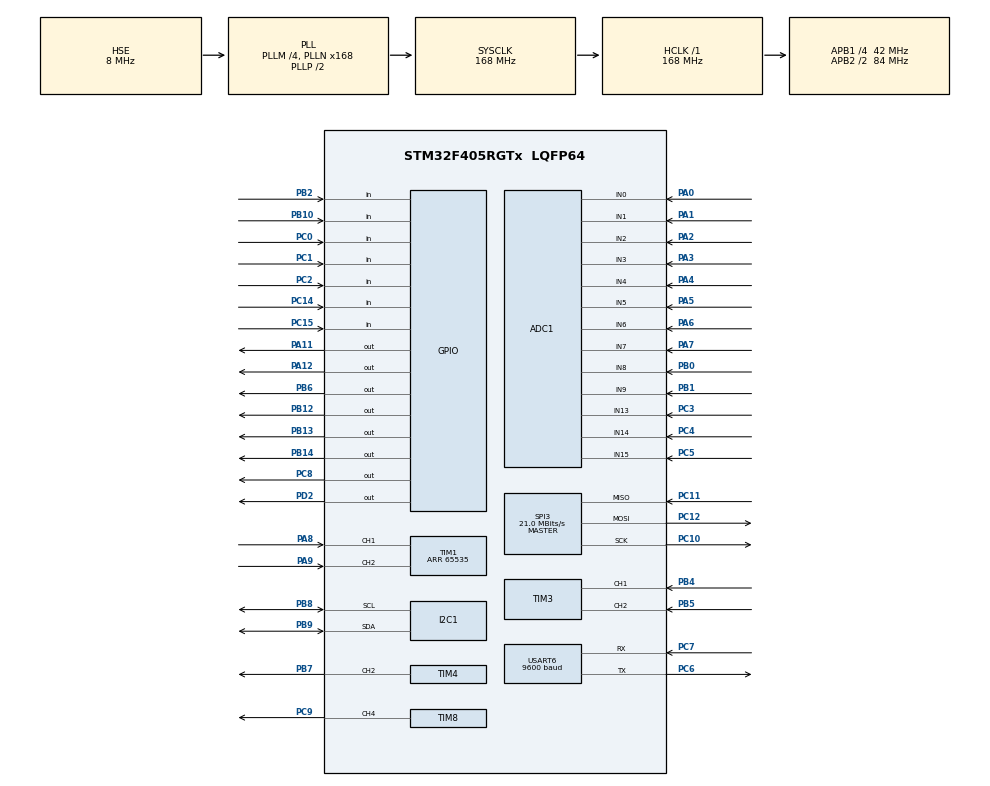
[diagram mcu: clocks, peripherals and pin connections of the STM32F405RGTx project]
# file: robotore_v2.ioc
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ADC1.Channel-0\#ChannelRegularConversion=ADC_CHANNEL_9
ADC1.Channel-1\#ChannelRegularConversion=ADC_CHANNEL_8
ADC1.Channel-10\#ChannelRegularConversion=ADC_CHANNEL_1
ADC1.Channel-11\#ChannelRegularConversion=ADC_CHANNEL_0
ADC1.Channel-12\#ChannelRegularConversion=ADC_CHANNEL_13
ADC1.Channel-2\#ChannelRegularConversion=ADC_CHANNEL_15
ADC1.Channel-3\#ChannelRegularConversion=ADC_CHANNEL_14
ADC1.Channel-4\#ChannelRegularConversion=ADC_CHANNEL_7
ADC1.Channel-5\#ChannelRegularConversion=ADC_CHANNEL_6
ADC1.Channel-6\#ChannelRegularConversion=ADC_CHANNEL_5
ADC1.Channel-7\#ChannelRegularConversion=ADC_CHANNEL_4
ADC1.Channel-8\#ChannelRegularConversion=ADC_CHANNEL_3
ADC1.Channel-9\#ChannelRegularConversion=ADC_CHANNEL_2
ADC1.ContinuousConvMode=ENABLE
ADC1.DMAContinuousRequests=ENABLE
ADC1.InjNumberOfConversion=0
ADC1.NbrOfConversion=13
ADC1.NbrOfConversionFlag=1
ADC1.Rank-0\#ChannelRegularConversion=1
ADC1.Rank-1\#ChannelRegularConversion=2
ADC1.Rank-10\#ChannelRegularConversion=11
ADC1.Rank-11\#ChannelRegularConversion=12
ADC1.Rank-12\#ChannelRegularConversion=13
ADC1.Rank-2\#ChannelRegularConversion=3
ADC1.Rank-3\#ChannelRegularConversion=4
ADC1.Rank-4\#ChannelRegularConversion=5
ADC1.Rank-5\#ChannelRegularConversion=6
ADC1.Rank-6\#ChannelRegularConversion=7
ADC1.Rank-7\#ChannelRegularConversion=8
ADC1.Rank-8\#ChannelRegularConversion=9
ADC1.Rank-9\#ChannelRegularConversion=10
ADC1.SamplingTime-0\#ChannelRegularConversion=ADC_SAMPLETIME_480CYCLES
ADC1.SamplingTime-1\#ChannelRegularConversion=ADC_SAMPLETIME_480CYCLES
ADC1.SamplingTime-10\#ChannelRegularConversion=ADC_SAMPLETIME_480CYCLES
ADC1.SamplingTime-11\#ChannelRegularConversion=ADC_SAMPLETIME_480CYCLES
ADC1.SamplingTime-12\#ChannelRegularConversion=ADC_SAMPLETIME_480CYCLES
ADC1.SamplingTime-2\#ChannelRegularConversion=ADC_SAMPLETIME_480CYCLES
ADC1.SamplingTime-3\#ChannelRegularConversion=ADC_SAMPLETIME_480CYCLES
ADC1.SamplingTime-4\#ChannelRegularConversion=ADC_SAMPLETIME_480CYCLES
ADC1.SamplingTime-5\#ChannelRegularConversion=ADC_SAMPLETIME_480CYCLES
ADC1.SamplingTime-6\#ChannelRegularConversion=ADC_SAMPLETIME_480CYCLES
ADC1.SamplingTime-7\#ChannelRegularConversion=ADC_SAMPLETIME_480CYCLES
ADC1.SamplingTime-8\#ChannelRegularConversion=ADC_SAMPLETIME_480CYCLES
ADC1.SamplingTime-9\#ChannelRegularConversion=ADC_SAMPLETIME_480CYCLES
ADC1.ScanConvMode=ENABLE
ADC1.master=1
Dma.ADC1.0.Direction=DMA_PERIPH_TO_MEMORY
Dma.ADC1.0.FIFOMode=DMA_FIFOMODE_DISABLE
Dma.ADC1.0.Instance=DMA2_Stream0
Dma.ADC1.0.MemDataAlignment=DMA_MDATAALIGN_HALFWORD
Dma.ADC1.0.MemInc=DMA_MINC_ENABLE
Dma.ADC1.0.Mode=DMA_CIRCULAR
Dma.ADC1.0.PeriphDataAlignment=DMA_PDATAALIGN_HALFWORD
Dma.ADC1.0.PeriphInc=DMA_PINC_DISABLE
Dma.ADC1.0.Priority=DMA_PRIORITY_LOW
Dma.Request0=ADC1
Mcu.Family=STM32F4
Mcu.Name=STM32F405RGTx
Mcu.Package=LQFP64
NVIC.DMA2_Stream0_IRQn=true\:0\:0\:false\:false\:true\:false\:true
NVIC.PriorityGroup=NVIC_PRIORITYGROUP_4
NVIC.TIM6_DAC_IRQn=true\:0\:0\:false\:false\:true\:true\:true
NVIC.USART6_IRQn=true\:0\:0\:false\:false\:true\:true\:true
PA0-WKUP.Signal=ADCx_IN0
PA1.Signal=ADCx_IN1
PA11.Signal=GPIO_Output
PA12.Signal=GPIO_Output
PA13.Mode=Trace_Asynchronous_SW
PA13.Signal=SYS_JTMS-SWDIO
PA14.Mode=Trace_Asynchronous_SW
PA14.Signal=SYS_JTCK-SWCLK
PA2.Signal=ADCx_IN2
PA3.Signal=ADCx_IN3
PA4.Signal=ADCx_IN4
PA5.Signal=ADCx_IN5
PA6.Signal=ADCx_IN6
PA7.Signal=ADCx_IN7
PA8.Signal=S_TIM1_CH1
PA9.Signal=S_TIM1_CH2
PB0.Signal=ADCx_IN8
PB1.Signal=ADCx_IN9
PB10.Signal=GPIO_Input
PB12.Signal=GPIO_Output
PB13.Signal=GPIO_Output
PB14.Signal=GPIO_Output
PB2.Signal=GPIO_Input
PB3.Mode=Trace_Asynchronous_SW
PB3.Signal=SYS_JTDO-SWO
PB4.Signal=S_TIM3_CH1
PB5.Signal=S_TIM3_CH2
PB6.Signal=GPIO_Output
PB7.Signal=S_TIM4_CH2
PB8.Mode=I2C
PB8.Signal=I2C1_SCL
PB9.Mode=I2C
PB9.Signal=I2C1_SDA
PC0.GPIO_PuPd=GPIO_PULLUP
PC0.Signal=GPIO_Input
PC1.GPIO_PuPd=GPIO_PULLUP
PC1.Signal=GPIO_Input
PC10.Mode=Full_Duplex_Master
PC10.Signal=SPI3_SCK
PC11.Mode=Full_Duplex_Master
PC11.Signal=SPI3_MISO
PC12.Mode=Full_Duplex_Master
PC12.Signal=SPI3_MOSI
PC14-OSC32_IN.GPIO_PuPd=GPIO_NOPULL
PC14-OSC32_IN.Signal=GPIO_Input
PC15-OSC32_OUT.GPIO_PuPd=GPIO_PULLUP
PC15-OSC32_OUT.Signal=GPIO_Input
PC2.GPIO_PuPd=GPIO_PULLUP
PC2.Signal=GPIO_Input
PC3.Signal=ADCx_IN13
PC4.Signal=ADCx_IN14
PC5.Signal=ADCx_IN15
PC6.Mode=Asynchronous
PC6.Signal=USART6_TX
PC7.Mode=Asynchronous
PC7.Signal=USART6_RX
PC8.Signal=GPIO_Output
PC9.Signal=S_TIM8_CH4
PD2.Signal=GPIO_Output
PH0-OSC_IN.Mode=HSE-External-Oscillator
PH0-OSC_IN.Signal=RCC_OSC_IN
PH1-OSC_OUT.Mode=HSE-External-Oscillator
PH1-OSC_OUT.Signal=RCC_OSC_OUT
ProjectManager.HeapSize=0x200
ProjectManager.StackSize=0x400
ProjectManager.TargetToolchain=STM32CubeIDE
RCC.48MHZClocksFreq_Value=84000000
RCC.AHBFreq_Value=168000000
RCC.APB1CLKDivider=RCC_HCLK_DIV4
RCC.APB1Freq_Value=42000000
RCC.APB1TimFreq_Value=84000000
RCC.APB2CLKDivider=RCC_HCLK_DIV2
RCC.APB2Freq_Value=84000000
RCC.APB2TimFreq_Value=168000000
RCC.CortexFreq_Value=168000000
RCC.HCLKFreq_Value=168000000
RCC.HSE_VALUE=8000000
RCC.HSI_VALUE=16000000
RCC.LSE_VALUE=32768
RCC.PLLM=4
RCC.PLLN=168
RCC.PLLSourceVirtual=RCC_PLLSOURCE_HSE
RCC.SYSCLKFreq_VALUE=168000000
RCC.SYSCLKSource=RCC_SYSCLKSOURCE_PLLCLK
RCC.VCOOutputFreq_Value=336000000
SH.ADCx_IN0.0=ADC1_IN0,IN0
SH.ADCx_IN1.0=ADC1_IN1,IN1
SH.ADCx_IN13.0=ADC1_IN13,IN13
SH.ADCx_IN14.0=ADC1_IN14,IN14
SH.ADCx_IN15.0=ADC1_IN15,IN15
SH.ADCx_IN2.0=ADC1_IN2,IN2
SH.ADCx_IN3.0=ADC1_IN3,IN3
SH.ADCx_IN4.0=ADC1_IN4,IN4
SH.ADCx_IN5.0=ADC1_IN5,IN5
SH.ADCx_IN6.0=ADC1_IN6,IN6
SH.ADCx_IN7.0=ADC1_IN7,IN7
SH.ADCx_IN8.0=ADC1_IN8,IN8
SH.ADCx_IN9.0=ADC1_IN9,IN9
SH.S_TIM1_CH1.0=TIM1_CH1,Encoder_Interface
SH.S_TIM1_CH2.0=TIM1_CH2,Encoder_Interface
SH.S_TIM3_CH1.0=TIM3_CH1,Encoder_Interface
SH.S_TIM3_CH2.0=TIM3_CH2,Encoder_Interface
SH.S_TIM4_CH2.0=TIM4_CH2,PWM Generation2 CH2
SH.S_TIM8_CH4.0=TIM8_CH4,PWM Generation4 CH4
SPI3.BaudRatePrescaler=SPI_BAUDRATEPRESCALER_2
SPI3.CalculateBaudRate=21.0 MBits/s
SPI3.Direction=SPI_DIRECTION_2LINES
SPI3.Mode=SPI_MODE_MASTER
SPI3.VirtualType=VM_MASTER
TIM1.CounterMode=TIM_COUNTERMODE_DOWN
TIM1.EncoderMode=TIM_ENCODERMODE_TI12
TIM1.Period=65535
TIM3.EncoderMode=TIM_ENCODERMODE_TI12
TIM4.Channel-PWM\ Generation2\ CH2=TIM_CHANNEL_2
TIM4.Period=2000
TIM4.Prescaler=1
TIM6.Period=999
TIM6.Prescaler=83
TIM8.Channel-PWM\ Generation4\ CH4=TIM_CHANNEL_4
TIM8.Period=2000
TIM8.Prescaler=4
USART6.BaudRate=9600
USART6.VirtualMode=VM_ASYNC
USART6.WordLength=WORDLENGTH_8B
VP_TIM6_VS_ClockSourceINT.Mode=Enable_Timer
board=custom

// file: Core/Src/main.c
/* USER CODE BEGIN Header */
/**
  ******************************************************************************
  * @file           : main.c
  * @brief          : Main program body
  ******************************************************************************
  * @attention
  *
  * <h2><center>&copy; Copyright (c) 2021 STMicroelectronics.
  * All rights reserved.</center></h2>
  *
  * This software component is licensed by ST under BSD 3-Clause license,
  * the "License"; You may not use this file except in compliance with the
  * License. You may obtain a copy of the License at:
  *                        opensource.org/licenses/BSD-3-Clause
  *
  ******************************************************************************
  */
/* USER CODE END Header */
#include "main.h"

/* USER CODE BEGIN Includes */
#include "stdio.h"
#include "stdbool.h"
#include "string.h"
#include "math.h"
#include <ICM_20648.h>
#include <AQM0802.h>

#include <flash.h>
#include <initial.h>
#include <tuning.h>
#include <PID_con.h>
#include <ADC_sens.h>
#include <IMU_cale.h>
#include "Flash_F405.h"
/* USER CODE END Includes */

/* USER CODE BEGIN PM */
#define SENSOR_NUMBER 13
#define T 0.001
#define PI 3.141592
#define diameter 22 //Tire diameter
#define resolution 512 //
#define Gear 2.14//Gear ratio
#define Accm 5.7
#define Decm 1.5
#define BACKUP_FLASH_SECTOR_NUM     FLASH_SECTOR_1
#define BACKUP_FLASH_SECTOR_SIZE    1024*16

#define BACKUP_FLASH_SECTOR_NUM2     FLASH_SECTOR_6
#define BACKUP_FLASH_SECTOR_SIZE2    1024*16

/* USER CODE END PM */

ADC_HandleTypeDef hadc1;
DMA_HandleTypeDef hdma_adc1;

I2C_HandleTypeDef hi2c1;

SPI_HandleTypeDef hspi3;

TIM_HandleTypeDef htim1;
TIM_HandleTypeDef htim3;
TIM_HandleTypeDef htim4;
TIM_HandleTypeDef htim6;
TIM_HandleTypeDef htim8;

UART_HandleTypeDef huart6;

/* USER CODE BEGIN PV */
uint16_t analog[SENSOR_NUMBER];
uint16_t di[SENSOR_NUMBER];                  //Maximum and minimum difference
uint16_t sens[SENSOR_NUMBER];
uint16_t sensRatio[SENSOR_NUMBER];
uint16_t b[SENSOR_NUMBER];
 uint16_t Speed = 1500;
uint16_t Speedbuff;
 int count= 1200;
float sensL, sensR;
double Kp= 0;//1.2
double  Ki= 0.000;//Ki= 0.001
double  Kd= 0.0000;//Kd= 0.0005
uint8_t Pgain;
uint8_t Igain;
uint8_t Dgain;
uint8_t con=0;
uint8_t secon=0;
uint32_t log_count=0;
uint8_t floag=0;
uint8_t stop_flag=0;
uint16_t stoping=30;
uint8_t second=0;
uint8_t a=0;
uint8_t cros=0;
int L , R;
float speedval_I = 0;
float ang_average =0;
extern float ang;
float load_log=0;
float ahs;
float ing=0;
float ing2 = 0;
uint32_t callog_adress;
uint32_t loadlog_adress;
uint32_t plan_velo_adress;
uint32_t cros_adress;
uint8_t street =0;
uint32_t leftm=0;
int crosbuff=0;
uint8_t left_floag=0;
uint16_t inse=0;
uint8_t kro=0;
uint8_t side_maker=0;
uint16_t side_log=0;
double secondsp[6100]={0};
float loada[6100]={0};
int ri[20]={0};
int log_K[30]={0};
  uint16_t work_ram[BACKUP_FLASH_SECTOR_SIZE] __attribute__ ((aligned(4)));
 char _backup_flash_start;

// float Driving_log[BACKUP_FLASH_SECTOR_SIZE2] __attribute__ ((aligned(4)));
// char _backup_flash_start2;
/* USER CODE END PV */

void SystemClock_Config(void);
static void MX_GPIO_Init(void);
static void MX_DMA_Init(void);
static void MX_ADC1_Init(void);
static void MX_I2C1_Init(void);
static void MX_SPI3_Init(void);
static void MX_TIM1_Init(void);
static void MX_TIM3_Init(void);
static void MX_TIM4_Init(void);
static void MX_TIM8_Init(void);
static void MX_USART6_UART_Init(void);
static void MX_TIM6_Init(void);

/* USER CODE BEGIN 0 */

float speedget();

void Motor(int16_t MotorL,int16_t MotorR);
int angle_Control();
void SpeedCtrl();
void off_angle();
#ifdef __GNUC__
	#define PUTCHAR_PROTOTYPE int __io_putchar(int ch)
#else
	#define PUTCHAR_PROTOTYPE int fputc(int ch, FILE *f)
#endif /*__GNUC__*/
PUTCHAR_PROTOTYPE {
	HAL_UART_Transmit(&huart6, (uint8_t*)&ch, 1, 0xFFFF);
	return ch;
}
void HAL_ADC_ConvCpltCallback(ADC_HandleTypeDef* AdcHandle) {
}

void init()
{

	uint8_t l=0;
	if(HAL_ADC_Start_DMA(&hadc1, (uint32_t *) analog, SENSOR_NUMBER) != HAL_OK){
	  Error_Handler();
	}
	if (HAL_TIM_PWM_Start(&htim8, TIM_CHANNEL_4) != HAL_OK){
	      Error_Handler();
	}
	if (HAL_TIM_PWM_Start(&htim4, TIM_CHANNEL_2) != HAL_OK){
				      Error_Handler();
				}
	lcd_init();
	lcd_clear();lcd_locate(0,0);
	lcd_printf("OK");

	HAL_TIM_Encoder_Start(&htim1,TIM_CHANNEL_ALL);
	HAL_TIM_Encoder_Start(&htim3,TIM_CHANNEL_ALL);
	HAL_TIM_PWM_Start(&htim4,TIM_CHANNEL_ALL);
	HAL_GPIO_WritePin(GPIOA, GPIO_PIN_11, GPIO_PIN_SET);
	HAL_TIM_PWM_Start(&htim8,TIM_CHANNEL_ALL);

	TIM1 -> CNT = 32767;
	TIM3 -> CNT = 32767;

	Flash_load();

	ang_average=(float)work_ram[31]/1000;
	printf("%lf\r\n",ang_average);
	if(ang_average>=50) ang_average=-ang_average/10;
	printf("%lf\r\n",ang_average);

	Kp = work_ram[0];
	Ki = work_ram[1];
	Kd = work_ram[2];
	Kp = Kp/100;
	Ki = Ki/1000000;
	Kd = Kd/1000;
	printf("MAX: %d %d %d %d %d %d %d %d %d %d %d %d %d\r\n", work_ram[3],work_ram[4],work_ram[5],work_ram[6],work_ram[7],work_ram[8],work_ram[9],work_ram[10],work_ram[11],work_ram[12],work_ram[13],work_ram[14],work_ram[15]);
	while(l < SENSOR_NUMBER){
			di[l] = work_ram[l+3];
			b[l] = work_ram[l+17];
			printf("%d,", b[l]);
			l++;
	}
	printf("\r\n");
}
int log_Speed(double h){
	int spee=1300;

	//h = Driving_log[6100+c]/(Driving_log[c]*0.01);
	if(h<0)h=-h;

	if(h < 100) spee = work_ram[37];
	else if(h < 300)  spee = work_ram[36];
	else if(h < 500)  spee = work_ram[35];
	else if(h < 800)  spee = work_ram[34];
	else if(h < 1000) spee = work_ram[33];
	else  spee = work_ram[32];
//	if(h < 100) spee = 1200;
//		else if(h < 300)  spee = 1300;
//		else if(h < 500)  spee = 1500;
//		else if(h < 800)  spee = 1600;
//		else if(h < 1000) spee = 2000;
//		else if(h > 1500) spee = 2500;
	return spee;

}
float mon_speed;

void log_Cal(){
	uint i=0;
	double Ca,Lo;
	callog_adress = start_adress_sector7;
	loadlog_adress = start_adress_sector9;
	while(1){
		Lo=*(float*)loadlog_adress;
		Ca=*(float*)callog_adress;

		if(isnan(Ca) != 0)break;

		secondsp[i]= log_Speed(Lo/(Ca*(Lo/(double)Speed)));

		loada[i] = loada[i-1]+Lo;
//		if((secondsp[i] - secondsp[i-1])/(Lo/(double)Speed)>Accm)secondsp[i]=Accm*Lo+secondsp[i-1];
//		if(-(secondsp[i-1] - secondsp[i])/(Lo/(double)Speed)<Decm)secondsp[i]=Decm*Lo+secondsp[i];
//		printf("%lf\n\r",secondsp[i]);

		callog_adress+= 0x04;
		loadlog_adress+= 0x04;
		LED(2);
		i++;

	}
	callog_adress = start_adress_sector7;
	loadlog_adress = start_adress_sector9;
	for(int s=0;s<i;s++){
		Lo=*(float*)loadlog_adress;
		Ca=*(float*)callog_adress;
		if((secondsp[s] - secondsp[s-1])/(Lo/(double)Speed)>Accm)secondsp[s]=Accm*Lo+secondsp[s-1];

		callog_adress+= 0x04;
		loadlog_adress+= 0x04;
	}
	callog_adress = start_adress_sector7;
	loadlog_adress = start_adress_sector9;
	for(int s=i;s>0;s--){
		if((secondsp[s] - secondsp[s+1])/(Lo/(double)Speed)>Decm)secondsp[s]=Decm*Lo+secondsp[s+1];
		callog_adress+= 0x04;
		loadlog_adress+= 0x04;
	}
//	for(int s=0;s<i;s++){
//		mon_speed = (float)secondsp[s];
//		//printf("%lf\n\r",secondsp[s]);
//		HAL_Delay(1);
//	}

}

void sidemaker(){
	//static int h= 0;
	if(HAL_GPIO_ReadPin(GPIOB,GPIO_PIN_2) ==0 && count > 500 && stoping > 45 && left_floag==0){
		floag=1;
		stoping =0;
		stop_flag++;

	}
	if(HAL_GPIO_ReadPin(GPIOB,GPIO_PIN_10) ==0){
		left_floag=1;
	}else left_floag=0;

	if(Speed < Speedbuff && stop_flag ==0) Speed= Speed + 10;;

}
void driv_Log(float u){

	  FLASH_Write_Word_F(callog_adress,u);
	  FLASH_Write_Word_F(loadlog_adress,load_log);
	  callog_adress+= 0x04;
	  loadlog_adress+= 0x04;
	 // u=*(float*)log_adress ;
}
void stret(){
		if(street==1){
			HAL_GPIO_WritePin(GPIOC, GPIO_PIN_8, GPIO_PIN_SET);
		}else if(street==0)HAL_GPIO_WritePin(GPIOC, GPIO_PIN_8, GPIO_PIN_RESET);

}
int iuo=0;
void driv_log(){
	static uint16_t i=0,z=0;

	static uint16_t ou=0;
	int16_t track=0;
	if(con==1 && floag==1 && second==0){
		ing = ahs/a;
		driv_Log(ahs/a);
		if(kro==1)crosbuff=0;
		if(ing>=(-0.05) && ing<= 0.05 || kro==1) {
			inse++;
			ou=0;
		 	if(inse>=20 || kro==1){
		 		street=1;
		 		inse=31;
		 		kro=0;

		 	}
		 	}else if(kro==0){

		 		ou++;
		 		if(ou>=10 ){
//		 			street=0;
//		 			inse=0;
		 		}
		 	}
		if(kro==0)crosbuff++;

			log_count++;
			con=0;
			a=0;
			ahs =0;
			LED(3);
		}
		if(con==1 && floag==1 && second==1 ){//
			ing = ahs/a;
			if(kro==1)crosbuff=0;
			if(ing>=(-0.08) && ing<= 0.08 || kro==1) {
				inse++;
				ou=0;
			 	if(inse>=15 || kro==1){
			 		street=1;
			 		inse=31;
			 		kro=0;

			 	}
			}else if(kro==0){
			 		ou++;

			 		if(ou>=5 ){
//			 			street=0;
//			 			inse=0;
			 		}
				}
			if(kro==0)crosbuff++;
			if(secondsp[log_count]<1300)secondsp[log_count]=1400;
			Speed =secondsp[log_count];
			a=0;
			ahs =0;
			con=0;
			log_count++;
			i++;
			LED(1);
		}
//		if(cros==1 &&second==0 && crosbuff!= log_count && crosbuff+3 <= log_count){
//			FLASH_Write_Word_S(cros_adress,log_count);
//			cros_adress+= 0x04;
//			crosbuff=log_count;
//			cros=0;
//
//		}
		if(side_maker==1 && second==0){
			FLASH_Write_Word_S(cros_adress,log_count);
			cros_adress+= 0x04;
			side_maker=0;

		}

//		if(cros==1 &&second==1 && crosbuff != log_count && crosbuff+4 <= log_count){
//			ri[z] = log_count;
//			log_count =  *(uint32_t*)cros_adress;
//			crosbuff=log_count;
//			cros_adress += 0x04;
//			cros=0;
//			z++;
//
//		}
		if(side_maker==1 && second==1){
			ri[z] = log_count;
			for(int gh=0;side_log<=gh;gh++){
				track = log_K[gh]-log_count;
				if(track>=-(18) && track<=18){
					log_count=log_K[gh];
					break;
				}
			}

//			log_count =  *(uint32_t*)cros_adress;
//			crosbuff=log_count;
//			cros_adress += 0x04;
//			cros=0;
			side_maker=0;
			z++;

		}

}

 int angle_Control(){
	float kp=150,ki=30,kd=0.3;
	float e,ed;
	static float ei=0,e0;
	int angMotorL;

	e =calc_angle();
	ei +=e*T;
	ed = e0-e/T;
	e0=e;
	angMotorL=(e*kp+ei*ki-ed*kd);
	return angMotorL;
}
 int mode(){
 	int8_t i=1;
 	 int g;
 	 float lo=0;
 	 int z=0;
 	 float gh=0;
 	 float y=0;
 	float ik=0;
 	while(1){
 		while(HAL_GPIO_ReadPin(GPIOC,GPIO_PIN_1)){
 			HAL_GPIO_WritePin(GPIOC, GPIO_PIN_8, GPIO_PIN_RESET);
 			if(HAL_GPIO_ReadPin(GPIOC,GPIO_PIN_15)==0) i++;
 			HAL_Delay(100);
 			if(HAL_GPIO_ReadPin(GPIOC,GPIO_PIN_2)==0) i--;
 			LED(i);
 			if(i==8) i=1;
 			if(i==-1) i=7;
 			HAL_Delay(100);

 		}
 		HAL_GPIO_WritePin(GPIOC, GPIO_PIN_8, GPIO_PIN_SET);

 		switch(i){
 			case 1:
 				LED(1);//blue
 				lcd_clear();
 				lcd_locate(0,0);
 				lcd_printf("IMU");
 				HAL_Delay(1000);
 				IMU_init();
 				off_angle();
 				break;
 			case 2://green
 				LED(2);
 				lcd_clear();
 				lcd_locate(0,0);
 				lcd_printf("ADCinit");
 				ADCinit();
 				break;
 			case 3:
 				LED(3);//light blue
 				Speedbuff = Speed;
 				lcd_clear();
 				lcd_locate(0,0);
 				lcd_printf("Tuning");
 				tuning();
 				Speed = Speedbuff;
 				break;
 			case 4:

 				LED(4);//red
 				lcd_clear();
 				lcd_init();
 				leftm=0;
 				Speedbuff = Speed;
 				Speed =0;
 				stop_flag=0;
 				stoping=30;
 				second=0;
 				Flash_clear2();
 				callog_adress = start_adress_sector7;
 				loadlog_adress = start_adress_sector9;
 				cros_adress = start_adress_sector10;
 				HAL_TIM_Base_Start_IT(&htim6);
 				while(1){
 					if(stop_flag>=2){
 						stop();
 						con=0;
 						floag=0;
 						stoping =0;
 						stop_flag=0;
 						break;
 					}
 					if(HAL_GPIO_ReadPin(GPIOB,GPIO_PIN_10)==0 && street==1 && crosbuff >=20 && HAL_GPIO_ReadPin(GPIOB,GPIO_PIN_2) ==1){

							while(1){
								if(HAL_GPIO_ReadPin(GPIOB,GPIO_PIN_10) ==1){
									left_floag=0;
									leftm++;
									street=0;
									side_maker=1;
									//kro=0;
									//crosbuff=0;
//									street=0;
//									inse =0;
									break;
								}
							}
							street=0;

							inse =0;

 					}

 				}
 				Speed = Speedbuff;
 				printf("%d\r\n",leftm);
 				log_count=0;
 				break;
 			case 5:
 				LED(5);//pink
 				lcd_init();

 				lcd_clear();
 				Flash_load();
 				log_Cal();
 				cros_adress = start_adress_sector10;
 				lcd_printf("%d",leftm);
 				printf("side :%d\r\n",leftm);
 				while(1){
 					log_count = *(int*) cros_adress;
 					if(isnan(*(float*) cros_adress) != 0)break;
 					log_K[z] = log_count;
 					printf("%d\n\r", log_count);
 					cros_adress+=0x04;
 					z++;
 				}
 				side_log=z;
 				for( z=0;z<=12;z++){
 					printf("%d\n\r",ri[z]);
 				}

 				break ;
 			case 6://yellow
 				Flash_load();
 				HAL_Delay(1500);
 				second=1;
 				log_count=0;
 				Speedbuff = Speed;
 				Speed =0;
 				stop_flag=0;
 				stoping=20;
 				leftm=0;
 				callog_adress = start_adress_sector7;
 				loadlog_adress = start_adress_sector9;
 				cros_adress = start_adress_sector10;

 				HAL_TIM_Base_Start_IT(&htim6);
 				while(1){
 					if(stop_flag>=2){
 						stop();
 						con=0;
 						floag=0;
 						stoping =0;
 						stop_flag=0;
 						break;
 					}
 					if(HAL_GPIO_ReadPin(GPIOB,GPIO_PIN_10)==0 && street==1 && crosbuff >=10 && HAL_GPIO_ReadPin(GPIOB,GPIO_PIN_2) ==1){
							while(1){
								if(HAL_GPIO_ReadPin(GPIOB,GPIO_PIN_10) ==1){
									left_floag=0;
									leftm++;
									street=0;
									side_maker=1;

									break;
								}
							}
							street=0;
							inse =0;
 					}

 				}
 				break;
 			case 7://white
 				acc_Speed();
 				break;

 		}
 	}
 }
void HAL_TIM_PeriodElapsedCallback(TIM_HandleTypeDef *htim){
	count++;
	stoping++;
	sensGet();
	SpeedCtrl();
	sidemaker();
	ahs += calc_angle();
	a++;
	driv_log();
	stret();
	}

/* USER CODE END 0 */

int main(void)
{

  /* MCU Configuration--------------------------------------------------------*/

  /* Reset of all peripherals, Initializes the Flash interface and the Systick. */
  HAL_Init();

  /* Configure the system clock */
  SystemClock_Config();

  /* Initialize all configured peripherals */
  MX_GPIO_Init();
  MX_DMA_Init();
  MX_ADC1_Init();
  MX_I2C1_Init();
  MX_SPI3_Init();
  MX_TIM1_Init();
  MX_TIM3_Init();
  MX_TIM4_Init();
  MX_TIM8_Init();
  MX_USART6_UART_Init();
  MX_TIM6_Init();
  /* USER CODE BEGIN 2 */

  init();

//  tuning();
  HAL_Delay(600);
//
  IMU_init();
//  HAL_TIM_Base_Start_IT(&htim6);

//  HAL_Delay(10000);

//  stop();

// off_angle();
//  ADCinit();

 mode();

  /* USER CODE END 2 */

  /* Infinite loop */
  /* USER CODE BEGIN WHILE */

  while(1){
	//  calc_angle();
//	  L = TIM1 -> CNT;
//	  printf("%d\r\n",L);
//	  speedget();
//	  HAL_GPIO_WritePin(GPIOB, GPIO_PIN_6, GPIO_PIN_SET);
//	  __HAL_TIM_SET_COMPARE(&htim4, TIM_CHANNEL_2, 200);
//	  printf("%f\r\n",speedget());
	  //printf("%d,\r\n",TIM3 -> CNT);
//	  Motor(000,2000);
//	  HAL_Delay(3000);
//	  Motor(100,-100);
	 // HAL_Delay(1000);

  }

    /* USER CODE END WHILE */

    /* USER CODE BEGIN 3 */
//  }

  /* USER CODE END 3 */
}

void SystemClock_Config(void)
{
  RCC_OscInitTypeDef RCC_OscInitStruct = {0};
  RCC_ClkInitTypeDef RCC_ClkInitStruct = {0};

  /** Configure the main internal regulator output voltage
  */
  __HAL_RCC_PWR_CLK_ENABLE();
  __HAL_PWR_VOLTAGESCALING_CONFIG(PWR_REGULATOR_VOLTAGE_SCALE1);
  /** Initializes the RCC Oscillators according to the specified parameters
  * in the RCC_OscInitTypeDef structure.
  */
  RCC_OscInitStruct.OscillatorType = RCC_OSCILLATORTYPE_HSE;
  RCC_OscInitStruct.HSEState = RCC_HSE_ON;
  RCC_OscInitStruct.PLL.PLLState = RCC_PLL_ON;
  RCC_OscInitStruct.PLL.PLLSource = RCC_PLLSOURCE_HSE;
  RCC_OscInitStruct.PLL.PLLM = 4;
  RCC_OscInitStruct.PLL.PLLN = 168;
  RCC_OscInitStruct.PLL.PLLP = RCC_PLLP_DIV2;
  RCC_OscInitStruct.PLL.PLLQ = 4;
  if (HAL_RCC_OscConfig(&RCC_OscInitStruct) != HAL_OK)
  {
    Error_Handler();
  }
  /** Initializes the CPU, AHB and APB buses clocks
  */
  RCC_ClkInitStruct.ClockType = RCC_CLOCKTYPE_HCLK|RCC_CLOCKTYPE_SYSCLK
                              |RCC_CLOCKTYPE_PCLK1|RCC_CLOCKTYPE_PCLK2;
  RCC_ClkInitStruct.SYSCLKSource = RCC_SYSCLKSOURCE_PLLCLK;
  RCC_ClkInitStruct.AHBCLKDivider = RCC_SYSCLK_DIV1;
  RCC_ClkInitStruct.APB1CLKDivider = RCC_HCLK_DIV4;
  RCC_ClkInitStruct.APB2CLKDivider = RCC_HCLK_DIV2;

  if (HAL_RCC_ClockConfig(&RCC_ClkInitStruct, FLASH_LATENCY_5) != HAL_OK)
  {
    Error_Handler();
  }
}

static void MX_ADC1_Init(void)
{

  ADC_ChannelConfTypeDef sConfig = {0};

  /** Configure the global features of the ADC (Clock, Resolution, Data Alignment and number of conversion)
  */
  hadc1.Instance = ADC1;
  hadc1.Init.ClockPrescaler = ADC_CLOCK_SYNC_PCLK_DIV4;
  hadc1.Init.Resolution = ADC_RESOLUTION_12B;
  hadc1.Init.ScanConvMode = ENABLE;
  hadc1.Init.ContinuousConvMode = ENABLE;
  hadc1.Init.DiscontinuousConvMode = DISABLE;
  hadc1.Init.ExternalTrigConvEdge = ADC_EXTERNALTRIGCONVEDGE_NONE;
  hadc1.Init.ExternalTrigConv = ADC_SOFTWARE_START;
  hadc1.Init.DataAlign = ADC_DATAALIGN_RIGHT;
  hadc1.Init.NbrOfConversion = 13;
  hadc1.Init.DMAContinuousRequests = ENABLE;
  hadc1.Init.EOCSelection = ADC_EOC_SINGLE_CONV;
  if (HAL_ADC_Init(&hadc1) != HAL_OK)
  {
    Error_Handler();
  }
  /** Configure for the selected ADC regular channel its corresponding rank in the sequencer and its sample time.
  */
  sConfig.Channel = ADC_CHANNEL_9;
  sConfig.Rank = 1;
  sConfig.SamplingTime = ADC_SAMPLETIME_480CYCLES;
  if (HAL_ADC_ConfigChannel(&hadc1, &sConfig) != HAL_OK)
  {
    Error_Handler();
  }
  /** Configure for the selected ADC regular channel its corresponding rank in the sequencer and its sample time.
  */
  sConfig.Channel = ADC_CHANNEL_8;
  sConfig.Rank = 2;
  if (HAL_ADC_ConfigChannel(&hadc1, &sConfig) != HAL_OK)
  {
    Error_Handler();
  }
  /** Configure for the selected ADC regular channel its corresponding rank in the sequencer and its sample time.
  */
  sConfig.Channel = ADC_CHANNEL_15;
  sConfig.Rank = 3;
  if (HAL_ADC_ConfigChannel(&hadc1, &sConfig) != HAL_OK)
  {
    Error_Handler();
  }
  /** Configure for the selected ADC regular channel its corresponding rank in the sequencer and its sample time.
  */
  sConfig.Channel = ADC_CHANNEL_14;
  sConfig.Rank = 4;
  if (HAL_ADC_ConfigChannel(&hadc1, &sConfig) != HAL_OK)
  {
    Error_Handler();
  }
  /** Configure for the selected ADC regular channel its corresponding rank in the sequencer and its sample time.
  */
  sConfig.Channel = ADC_CHANNEL_7;
  sConfig.Rank = 5;
  if (HAL_ADC_ConfigChannel(&hadc1, &sConfig) != HAL_OK)
  {
    Error_Handler();
  }
  /** Configure for the selected ADC regular channel its corresponding rank in the sequencer and its sample time.
  */
  sConfig.Channel = ADC_CHANNEL_6;
  sConfig.Rank = 6;
  if (HAL_ADC_ConfigChannel(&hadc1, &sConfig) != HAL_OK)
  {
    Error_Handler();
  }
  /** Configure for the selected ADC regular channel its corresponding rank in the sequencer and its sample time.
  */
  sConfig.Channel = ADC_CHANNEL_5;
  sConfig.Rank = 7;
  if (HAL_ADC_ConfigChannel(&hadc1, &sConfig) != HAL_OK)
  {
    Error_Handler();
  }
  /** Configure for the selected ADC regular channel its corresponding rank in the sequencer and its sample time.
  */
  sConfig.Channel = ADC_CHANNEL_4;
  sConfig.Rank = 8;
  if (HAL_ADC_ConfigChannel(&hadc1, &sConfig) != HAL_OK)
  {
    Error_Handler();
  }
  /** Configure for the selected ADC regular channel its corresponding rank in the sequencer and its sample time.
  */
  sConfig.Channel = ADC_CHANNEL_3;
  sConfig.Rank = 9;
  if (HAL_ADC_ConfigChannel(&hadc1, &sConfig) != HAL_OK)
  {
    Error_Handler();
  }
  /** Configure for the selected ADC regular channel its corresponding rank in the sequencer and its sample time.
  */
  sConfig.Channel = ADC_CHANNEL_2;
  sConfig.Rank = 10;
  if (HAL_ADC_ConfigChannel(&hadc1, &sConfig) != HAL_OK)
  {
    Error_Handler();
  }
  /** Configure for the selected ADC regular channel its corresponding rank in the sequencer and its sample time.
  */
  sConfig.Channel = ADC_CHANNEL_1;
  sConfig.Rank = 11;
  if (HAL_ADC_ConfigChannel(&hadc1, &sConfig) != HAL_OK)
  {
    Error_Handler();
  }
  /** Configure for the selected ADC regular channel its corresponding rank in the sequencer and its sample time.
  */
  sConfig.Channel = ADC_CHANNEL_0;
  sConfig.Rank = 12;
  if (HAL_ADC_ConfigChannel(&hadc1, &sConfig) != HAL_OK)
  {
    Error_Handler();
  }
  /** Configure for the selected ADC regular channel its corresponding rank in the sequencer and its sample time.
  */
  sConfig.Channel = ADC_CHANNEL_13;
  sConfig.Rank = 13;
  if (HAL_ADC_ConfigChannel(&hadc1, &sConfig) != HAL_OK)
  {
    Error_Handler();
  }

}

static void MX_I2C1_Init(void)
{

  hi2c1.Instance = I2C1;
  hi2c1.Init.ClockSpeed = 100000;
  hi2c1.Init.DutyCycle = I2C_DUTYCYCLE_2;
  hi2c1.Init.OwnAddress1 = 0;
  hi2c1.Init.AddressingMode = I2C_ADDRESSINGMODE_7BIT;
  hi2c1.Init.DualAddressMode = I2C_DUALADDRESS_DISABLE;
  hi2c1.Init.OwnAddress2 = 0;
  hi2c1.Init.GeneralCallMode = I2C_GENERALCALL_DISABLE;
  hi2c1.Init.NoStretchMode = I2C_NOSTRETCH_DISABLE;
  if (HAL_I2C_Init(&hi2c1) != HAL_OK)
  {
    Error_Handler();
  }

}

static void MX_SPI3_Init(void)
{

  /* SPI3 parameter configuration*/
  hspi3.Instance = SPI3;
  hspi3.Init.Mode = SPI_MODE_MASTER;
  hspi3.Init.Direction = SPI_DIRECTION_2LINES;
  hspi3.Init.DataSize = SPI_DATASIZE_8BIT;
  hspi3.Init.CLKPolarity = SPI_POLARITY_LOW;
  hspi3.Init.CLKPhase = SPI_PHASE_1EDGE;
  hspi3.Init.NSS = SPI_NSS_SOFT;
  hspi3.Init.BaudRatePrescaler = SPI_BAUDRATEPRESCALER_2;
  hspi3.Init.FirstBit = SPI_FIRSTBIT_MSB;
  hspi3.Init.TIMode = SPI_TIMODE_DISABLE;
  hspi3.Init.CRCCalculation = SPI_CRCCALCULATION_DISABLE;
  hspi3.Init.CRCPolynomial = 10;
  if (HAL_SPI_Init(&hspi3) != HAL_OK)
  {
    Error_Handler();
  }

}

static void MX_TIM1_Init(void)
{

  TIM_Encoder_InitTypeDef sConfig = {0};
  TIM_MasterConfigTypeDef sMasterConfig = {0};

  htim1.Instance = TIM1;
  htim1.Init.Prescaler = 0;
  htim1.Init.CounterMode = TIM_COUNTERMODE_DOWN;
  htim1.Init.Period = 65535;
  htim1.Init.ClockDivision = TIM_CLOCKDIVISION_DIV1;
  htim1.Init.RepetitionCounter = 0;
  htim1.Init.AutoReloadPreload = TIM_AUTORELOAD_PRELOAD_DISABLE;
  sConfig.EncoderMode = TIM_ENCODERMODE_TI12;
  sConfig.IC1Polarity = TIM_ICPOLARITY_RISING;
  sConfig.IC1Selection = TIM_ICSELECTION_DIRECTTI;
  sConfig.IC1Prescaler = TIM_ICPSC_DIV1;
  sConfig.IC1Filter = 0;
  sConfig.IC2Polarity = TIM_ICPOLARITY_RISING;
  sConfig.IC2Selection = TIM_ICSELECTION_DIRECTTI;
  sConfig.IC2Prescaler = TIM_ICPSC_DIV1;
  sConfig.IC2Filter = 0;
  if (HAL_TIM_Encoder_Init(&htim1, &sConfig) != HAL_OK)
  {
    Error_Handler();
  }
  sMasterConfig.MasterOutputTrigger = TIM_TRGO_RESET;
  sMasterConfig.MasterSlaveMode = TIM_MASTERSLAVEMODE_DISABLE;
  if (HAL_TIMEx_MasterConfigSynchronization(&htim1, &sMasterConfig) != HAL_OK)
  {
    Error_Handler();
  }

}

static void MX_TIM3_Init(void)
{

  TIM_Encoder_InitTypeDef sConfig = {0};
  TIM_MasterConfigTypeDef sMasterConfig = {0};

  htim3.Instance = TIM3;
  htim3.Init.Prescaler = 0;
  htim3.Init.CounterMode = TIM_COUNTERMODE_UP;
  htim3.Init.Period = 65535;
  htim3.Init.ClockDivision = TIM_CLOCKDIVISION_DIV1;
  htim3.Init.AutoReloadPreload = TIM_AUTORELOAD_PRELOAD_DISABLE;
  sConfig.EncoderMode = TIM_ENCODERMODE_TI12;
  sConfig.IC1Polarity = TIM_ICPOLARITY_RISING;
  sConfig.IC1Selection = TIM_ICSELECTION_DIRECTTI;
  sConfig.IC1Prescaler = TIM_ICPSC_DIV1;
  sConfig.IC1Filter = 0;
  sConfig.IC2Polarity = TIM_ICPOLARITY_RISING;
  sConfig.IC2Selection = TIM_ICSELECTION_DIRECTTI;
  sConfig.IC2Prescaler = TIM_ICPSC_DIV1;
  sConfig.IC2Filter = 0;
  if (HAL_TIM_Encoder_Init(&htim3, &sConfig) != HAL_OK)
  {
    Error_Handler();
  }
  sMasterConfig.MasterOutputTrigger = TIM_TRGO_RESET;
  sMasterConfig.MasterSlaveMode = TIM_MASTERSLAVEMODE_DISABLE;
  if (HAL_TIMEx_MasterConfigSynchronization(&htim3, &sMasterConfig) != HAL_OK)
  {
    Error_Handler();
  }

}

static void MX_TIM4_Init(void)
{

  TIM_MasterConfigTypeDef sMasterConfig = {0};
  TIM_OC_InitTypeDef sConfigOC = {0};

  htim4.Instance = TIM4;
  htim4.Init.Prescaler = 1;
  htim4.Init.CounterMode = TIM_COUNTERMODE_UP;
  htim4.Init.Period = 2000;
  htim4.Init.ClockDivision = TIM_CLOCKDIVISION_DIV1;
  htim4.Init.AutoReloadPreload = TIM_AUTORELOAD_PRELOAD_DISABLE;
  if (HAL_TIM_PWM_Init(&htim4) != HAL_OK)
  {
    Error_Handler();
  }
  sMasterConfig.MasterOutputTrigger = TIM_TRGO_RESET;
  sMasterConfig.MasterSlaveMode = TIM_MASTERSLAVEMODE_DISABLE;
  if (HAL_TIMEx_MasterConfigSynchronization(&htim4, &sMasterConfig) != HAL_OK)
  {
    Error_Handler();
  }
  sConfigOC.OCMode = TIM_OCMODE_PWM1;
  sConfigOC.Pulse = 0;
  sConfigOC.OCPolarity = TIM_OCPOLARITY_HIGH;
  sConfigOC.OCFastMode = TIM_OCFAST_DISABLE;
  if (HAL_TIM_PWM_ConfigChannel(&htim4, &sConfigOC, TIM_CHANNEL_2) != HAL_OK)
  {
    Error_Handler();
  }
  HAL_TIM_MspPostInit(&htim4);

}

static void MX_TIM6_Init(void)
{

  TIM_MasterConfigTypeDef sMasterConfig = {0};

  htim6.Instance = TIM6;
  htim6.Init.Prescaler = 83;
  htim6.Init.CounterMode = TIM_COUNTERMODE_UP;
  htim6.Init.Period = 999;
  htim6.Init.AutoReloadPreload = TIM_AUTORELOAD_PRELOAD_DISABLE;
  if (HAL_TIM_Base_Init(&htim6) != HAL_OK)
  {
    Error_Handler();
  }
  sMasterConfig.MasterOutputTrigger = TIM_TRGO_RESET;
  sMasterConfig.MasterSlaveMode = TIM_MASTERSLAVEMODE_DISABLE;
  if (HAL_TIMEx_MasterConfigSynchronization(&htim6, &sMasterConfig) != HAL_OK)
  {
    Error_Handler();
  }

}

static void MX_TIM8_Init(void)
{

  TIM_MasterConfigTypeDef sMasterConfig = {0};
  TIM_OC_InitTypeDef sConfigOC = {0};
  TIM_BreakDeadTimeConfigTypeDef sBreakDeadTimeConfig = {0};

  htim8.Instance = TIM8;
  htim8.Init.Prescaler = 4;
  htim8.Init.CounterMode = TIM_COUNTERMODE_UP;
  htim8.Init.Period = 2000;
  htim8.Init.ClockDivision = TIM_CLOCKDIVISION_DIV1;
  htim8.Init.RepetitionCounter = 0;
  htim8.Init.AutoReloadPreload = TIM_AUTORELOAD_PRELOAD_DISABLE;
  if (HAL_TIM_PWM_Init(&htim8) != HAL_OK)
  {
    Error_Handler();
  }
  sMasterConfig.MasterOutputTrigger = TIM_TRGO_RESET;
  sMasterConfig.MasterSlaveMode = TIM_MASTERSLAVEMODE_DISABLE;
  if (HAL_TIMEx_MasterConfigSynchronization(&htim8, &sMasterConfig) != HAL_OK)
  {
    Error_Handler();
  }
  sConfigOC.OCMode = TIM_OCMODE_PWM1;
  sConfigOC.Pulse = 0;
  sConfigOC.OCPolarity = TIM_OCPOLARITY_HIGH;
  sConfigOC.OCFastMode = TIM_OCFAST_DISABLE;
  sConfigOC.OCIdleState = TIM_OCIDLESTATE_RESET;
  sConfigOC.OCNIdleState = TIM_OCNIDLESTATE_RESET;
  if (HAL_TIM_PWM_ConfigChannel(&htim8, &sConfigOC, TIM_CHANNEL_4) != HAL_OK)
  {
    Error_Handler();
  }
  sBreakDeadTimeConfig.OffStateRunMode = TIM_OSSR_DISABLE;
  sBreakDeadTimeConfig.OffStateIDLEMode = TIM_OSSI_DISABLE;
  sBreakDeadTimeConfig.LockLevel = TIM_LOCKLEVEL_OFF;
  sBreakDeadTimeConfig.DeadTime = 0;
  sBreakDeadTimeConfig.BreakState = TIM_BREAK_DISABLE;
  sBreakDeadTimeConfig.BreakPolarity = TIM_BREAKPOLARITY_HIGH;
  sBreakDeadTimeConfig.AutomaticOutput = TIM_AUTOMATICOUTPUT_DISABLE;
  if (HAL_TIMEx_ConfigBreakDeadTime(&htim8, &sBreakDeadTimeConfig) != HAL_OK)
  {
    Error_Handler();
  }
  HAL_TIM_MspPostInit(&htim8);

}

static void MX_USART6_UART_Init(void)
{

  huart6.Instance = USART6;
  huart6.Init.BaudRate = 9600;
  huart6.Init.WordLength = UART_WORDLENGTH_8B;
  huart6.Init.StopBits = UART_STOPBITS_1;
  huart6.Init.Parity = UART_PARITY_NONE;
  huart6.Init.Mode = UART_MODE_TX_RX;
  huart6.Init.HwFlowCtl = UART_HWCONTROL_NONE;
  huart6.Init.OverSampling = UART_OVERSAMPLING_16;
  if (HAL_UART_Init(&huart6) != HAL_OK)
  {
    Error_Handler();
  }

}

static void MX_DMA_Init(void)
{

  /* DMA controller clock enable */
  __HAL_RCC_DMA2_CLK_ENABLE();

  /* DMA interrupt init */
  /* DMA2_Stream0_IRQn interrupt configuration */
  HAL_NVIC_SetPriority(DMA2_Stream0_IRQn, 0, 0);
  HAL_NVIC_EnableIRQ(DMA2_Stream0_IRQn);

}

static void MX_GPIO_Init(void)
{
  GPIO_InitTypeDef GPIO_InitStruct = {0};

  /* GPIO Ports Clock Enable */
  __HAL_RCC_GPIOC_CLK_ENABLE();
  __HAL_RCC_GPIOH_CLK_ENABLE();
  __HAL_RCC_GPIOA_CLK_ENABLE();
  __HAL_RCC_GPIOB_CLK_ENABLE();
  __HAL_RCC_GPIOD_CLK_ENABLE();

  /*Configure GPIO pin Output Level */
  HAL_GPIO_WritePin(GPIOB, GPIO_PIN_12|GPIO_PIN_13|GPIO_PIN_14|GPIO_PIN_6, GPIO_PIN_RESET);

  /*Configure GPIO pin Output Level */
  HAL_GPIO_WritePin(GPIOC, GPIO_PIN_8, GPIO_PIN_RESET);

  /*Configure GPIO pin Output Level */
  HAL_GPIO_WritePin(GPIOA, GPIO_PIN_11|GPIO_PIN_12, GPIO_PIN_RESET);

  /*Configure GPIO pin Output Level */
  HAL_GPIO_WritePin(GPIOD, GPIO_PIN_2, GPIO_PIN_RESET);

  /*Configure GPIO pin : PC14 */
  GPIO_InitStruct.Pin = GPIO_PIN_14;
  GPIO_InitStruct.Mode = GPIO_MODE_INPUT;
  GPIO_InitStruct.Pull = GPIO_NOPULL;
  HAL_GPIO_Init(GPIOC, &GPIO_InitStruct);

  /*Configure GPIO pins : PC15 PC0 PC1 PC2 */
  GPIO_InitStruct.Pin = GPIO_PIN_15|GPIO_PIN_0|GPIO_PIN_1|GPIO_PIN_2;
  GPIO_InitStruct.Mode = GPIO_MODE_INPUT;
  GPIO_InitStruct.Pull = GPIO_PULLUP;
  HAL_GPIO_Init(GPIOC, &GPIO_InitStruct);

  /*Configure GPIO pins : PB2 PB10 */
  GPIO_InitStruct.Pin = GPIO_PIN_2|GPIO_PIN_10;
  GPIO_InitStruct.Mode = GPIO_MODE_INPUT;
  GPIO_InitStruct.Pull = GPIO_NOPULL;
  HAL_GPIO_Init(GPIOB, &GPIO_InitStruct);

  /*Configure GPIO pins : PB12 PB13 PB14 PB6 */
  GPIO_InitStruct.Pin = GPIO_PIN_12|GPIO_PIN_13|GPIO_PIN_14|GPIO_PIN_6;
  GPIO_InitStruct.Mode = GPIO_MODE_OUTPUT_PP;
  GPIO_InitStruct.Pull = GPIO_NOPULL;
  GPIO_InitStruct.Speed = GPIO_SPEED_FREQ_LOW;
  HAL_GPIO_Init(GPIOB, &GPIO_InitStruct);

  /*Configure GPIO pin : PC8 */
  GPIO_InitStruct.Pin = GPIO_PIN_8;
  GPIO_InitStruct.Mode = GPIO_MODE_OUTPUT_PP;
  GPIO_InitStruct.Pull = GPIO_NOPULL;
  GPIO_InitStruct.Speed = GPIO_SPEED_FREQ_LOW;
  HAL_GPIO_Init(GPIOC, &GPIO_InitStruct);

  /*Configure GPIO pins : PA11 PA12 */
  GPIO_InitStruct.Pin = GPIO_PIN_11|GPIO_PIN_12;
  GPIO_InitStruct.Mode = GPIO_MODE_OUTPUT_PP;
  GPIO_InitStruct.Pull = GPIO_NOPULL;
  GPIO_InitStruct.Speed = GPIO_SPEED_FREQ_LOW;
  HAL_GPIO_Init(GPIOA, &GPIO_InitStruct);

  /*Configure GPIO pin : PD2 */
  GPIO_InitStruct.Pin = GPIO_PIN_2;
  GPIO_InitStruct.Mode = GPIO_MODE_OUTPUT_PP;
  GPIO_InitStruct.Pull = GPIO_NOPULL;
  GPIO_InitStruct.Speed = GPIO_SPEED_FREQ_LOW;
  HAL_GPIO_Init(GPIOD, &GPIO_InitStruct);

}

void Error_Handler(void)
{
  __disable_irq();
  while (1)
  {
  }
}

/************************ (C) COPYRIGHT STMicroelectronics *****END OF FILE****/
